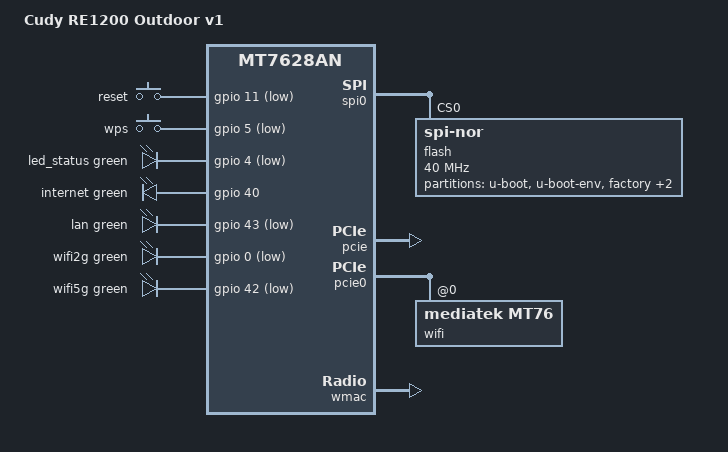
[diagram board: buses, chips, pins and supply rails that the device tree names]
// SPDX-License-Identifier: GPL-2.0-or-later OR MIT

#include "mt7628an.dtsi"

#include <dt-bindings/gpio/gpio.h>
#include <dt-bindings/input/input.h>
#include <dt-bindings/leds/common.h>

/ {
	compatible = "cudy,re1200-outdoor-v1", "mediatek,mt7628an-soc";
	model = "Cudy RE1200 Outdoor v1";

	aliases {
		led-boot = &led_status;
		led-running = &led_status;
		led-failsafe = &led_status;
		led-upgrade = &led_status;
		label-mac-device = &ethernet;
	};

	chosen {
		bootargs = "console=ttyS0,115200";
	};

	gpio-keys {
		compatible = "gpio-keys";

		reset {
			label = "reset";
			linux,code = <KEY_RESTART>;
			gpios = <&gpio 11 GPIO_ACTIVE_LOW>;
		};

		wps {
			label = "wps";
			gpios = <&gpio 5 GPIO_ACTIVE_LOW>;
			linux,code = <KEY_WPS_BUTTON>;
		};
	};

	leds {
		compatible = "gpio-leds";

		led_status:status {
			gpios = <&gpio 4 GPIO_ACTIVE_LOW>;
			color = <LED_COLOR_ID_GREEN>;
			function = LED_FUNCTION_STATUS;
		};

		internet {
			gpios = <&gpio 40 GPIO_ACTIVE_HIGH>;
			color = <LED_COLOR_ID_GREEN>;
			function = LED_FUNCTION_WAN_ONLINE;
		};

		lan {
			gpios = <&gpio 43 GPIO_ACTIVE_LOW>;
			color = <LED_COLOR_ID_GREEN>;
			function = LED_FUNCTION_LAN;
		};

		wifi2g {
			gpios = <&gpio 0 GPIO_ACTIVE_LOW>;
			color = <LED_COLOR_ID_GREEN>;
			function = LED_FUNCTION_WLAN_2GHZ;
			linux,default-trigger = "phy0tpt";
		};

		wifi5g {
			gpios = <&gpio 42 GPIO_ACTIVE_LOW>;
			color = <LED_COLOR_ID_GREEN>;
			function = LED_FUNCTION_WLAN_5GHZ;
			linux,default-trigger = "phy1tpt";
		};	
	};
};

&spi0 {
	status = "okay";

	flash@0 {
		compatible = "jedec,spi-nor";
		reg = <0>;
		spi-max-frequency = <40000000>;

		partitions {
			compatible = "fixed-partitions";
			#address-cells = <1>;
			#size-cells = <1>;

			partition@0 {
				label = "u-boot";
				reg = <0x0 0x30000>;
				read-only;
			};

			partition@30000 {
				label = "u-boot-env";
				reg = <0x30000 0x10000>;
				read-only;
			};

			partition@40000 {
				label = "factory";
				reg = <0x40000 0x10000>;
				read-only;

				nvmem-layout {
					compatible = "fixed-layout";
					#address-cells = <1>;
					#size-cells = <1>;

					eeprom_factory_0: eeprom@0 {
						reg = <0x0 0x400>;
					};

					eeprom_factory_8000: eeprom@8000 {
						reg = <0x8000 0x4da8>;
					};
				};
			};

			partition@50000 {
				compatible = "denx,uimage";
				label = "firmware";
				reg = <0x50000 0x7a0000>;
			};

			partition@ff0000 {
				label = "bdinfo";
				reg = <0x7f0000 0x10000>;
				read-only;

				nvmem-layout {
					compatible = "fixed-layout";
					#address-cells = <1>;
					#size-cells = <1>;

					macaddr_bdinfo_de00: macaddr@de00 {
						compatible = "mac-base";
						reg = <0xde00 0x6>;
						#nvmem-cell-cells = <1>;
					};
				};
			};
		};
	};
};

&state_default {
	gpio {
		groups = "i2c", "gpio", "wdt", "p0led_an", "wled_an";
		function = "gpio";
	};
};

&pcie {
	status = "okay";
};

&pcie0 {
	wifi@0,0 {
		compatible = "mediatek,mt76";
		reg = <0x0000 0 0 0 0>;
		nvmem-cells = <&eeprom_factory_8000>, <&macaddr_bdinfo_de00 2>;
		nvmem-cell-names = "eeprom", "mac-address";
		ieee80211-freq-limit = <5000000 6000000>;
	};
};

&wmac {
	status = "okay";

	nvmem-cells = <&eeprom_factory_0>, <&macaddr_bdinfo_de00 0>;
	nvmem-cell-names = "eeprom", "mac-address";
};

&ethernet {
	nvmem-cells = <&macaddr_bdinfo_de00 0>;
	nvmem-cell-names = "mac-address";
};

&esw {
	mediatek,portmap = <0x3d>;
	mediatek,portdisable = <0x3e>;
};
